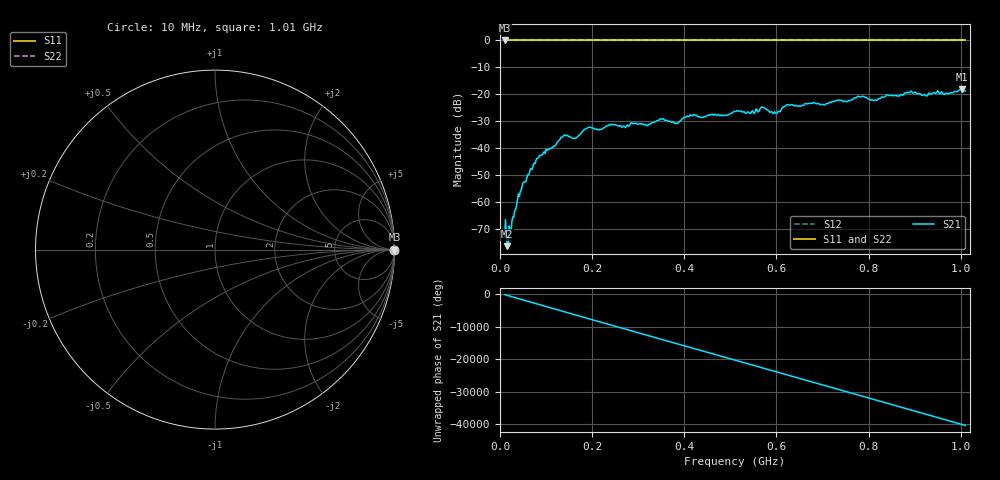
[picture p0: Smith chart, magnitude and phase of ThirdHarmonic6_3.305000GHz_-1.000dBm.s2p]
! 8/17/2025 10:18:59 AM
! C:\ANRITSUVNA\TEMP\TEMP.S2P
! CHANNEL.1
! TR.MEASUREMENT
! RAW.DATA
! RF.CORRECTION.OFF
! AVERAGING.OFF
! IF.BANDWIDTH: 5KHZ
! SWEEPTYPE:  FREQ.SWEEP(Linear)
! Reference Plane Port Info
! PORT:  PORT1  PORT2
! DISTANCE:  0  m  0  m
! TIME:  0  s  0  s
! PHASE.OFFSET:  0  deg.  0  deg.
! LOSS:  0  dB  0  dB
! REF.LOSS:  0  dB  0  dB
! REF.FREQ:  0  Hz  0  Hz
! Power Info
! POWER:  -20  dBm  -20  dBm
! EFF.POWER:  -20  dBm  -20  dBm
! SOURCE.ATTEN:  0  dB  0  dB
! TEST.ATTEN:  0  dB  0  dB
# GHZ S RI R 50.0
! FREQ.GHZ  S11RE  S11IM  S21RE  S21IM  S12RE  S12IM  S22RE  S22IM
!; PortSelection: Port_12
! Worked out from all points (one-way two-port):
!   501 points, 10 MHz to 1.01 GHz, reference 50 ohm
!   highest |S21| = -18.16 dB at 1.002 GHz (marker M1); lowest = -76.2 dB at 16 MHz (marker M2)
!   lowest |S11| = 0.0 dB at 10 MHz (marker M3)
!   |S11| at or under -10 dB: nowhere
!   |S22| runs from 0.0 to 0.0 dB; largest |S21 - S12| = 1.1
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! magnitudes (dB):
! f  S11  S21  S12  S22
! 10 MHz  0.0  -72.9  0.0  0.0
! 16 MHz  0.0  -76.2  0.0  0.0
! 20 MHz  0.0  -68.7  0.0  0.0
! 36 MHz  0.0  -60.9  0.0  0.0
! 48 MHz  0.0  -54.1  0.0  0.0
! 82 MHz  0.0  -43.6  0.0  0.0
! 136 MHz  0.0  -35.7  0.0  0.0
! 162 MHz  0.0  -36.2  0.0  0.0
! 178 MHz  0.0  -33.8  0.0  0.0
! 344 MHz  0.0  -29.7  0.0  0.0
! 384 MHz  0.0  -30.6  0.0  0.0
! 416 MHz  0.0  -27.9  0.0  0.0
! 510 MHz  0.0  -26.3  0.0  0.0
! 570 MHz  0.0  -24.8  0.0  0.0
! 596 MHz  0.0  -26.4  0.0  0.0
! 624 MHz  0.0  -23.8  0.0  0.0
! 678 MHz  0.0  -23.3  0.0  0.0
! 780 MHz  0.0  -20.8  0.0  0.0
! 814 MHz  0.0  -22.0  0.0  0.0
! 844 MHz  0.0  -20.3  0.0  0.0
! 1.002 GHz  0.0  -18.2  0.0  0.0
! 1.01 GHz  0.0  -18.7  0.0  0.0
